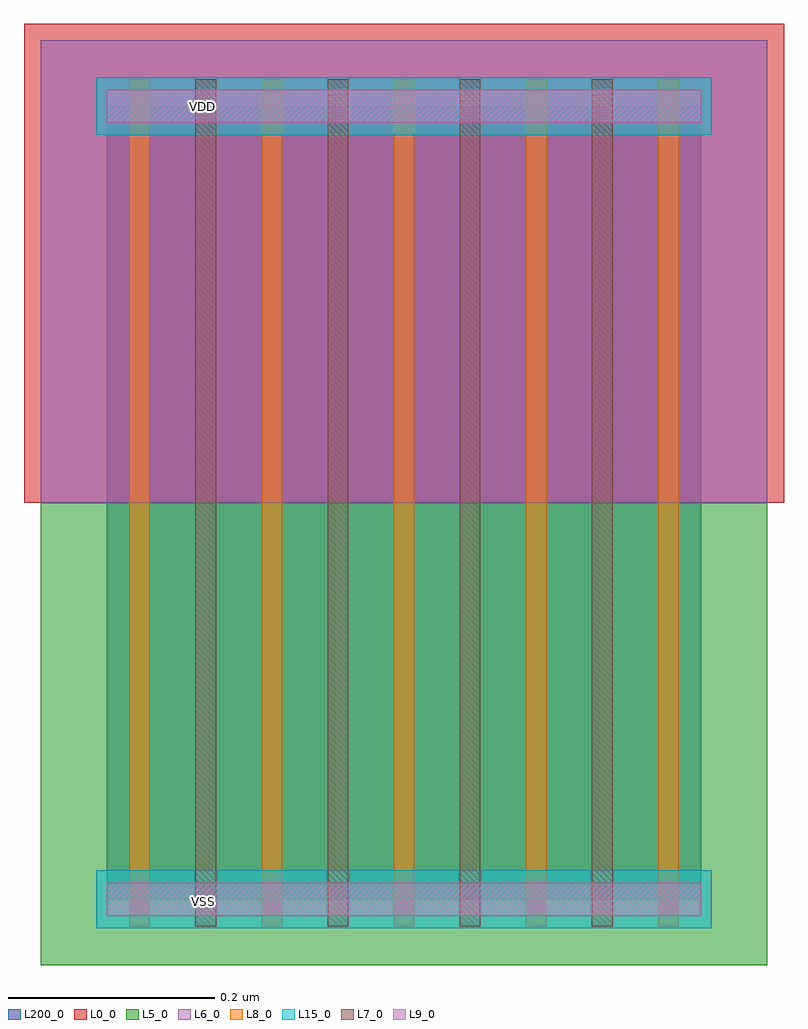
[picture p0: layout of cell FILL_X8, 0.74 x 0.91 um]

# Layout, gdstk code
import gdstk
lib = gdstk.Library(unit=1e-6, precision=1e-09)
def R(c, l, rs):  # rectangles x0, y0, x1, y1
    for r in rs: c.add(gdstk.rectangle(r[:2], r[2:], *l))
def A(c, l, x, y, w, h, nx, ny, dx, dy):  # array of equal rectangles
    R(c, l, [(x+i*dx, y+j*dy, x+i*dx+w, y+j*dy+h) for i in range(nx) for j in range(ny)])
L0_0 = (0, 0)
L5_0 = (5, 0)
L6_0 = (6, 0)
L7_0 = (7, 0)
L8_0 = (8, 0)
L9_0 = (9, 0)
L15_0 = (15, 0)
L200_0 = (200, 0)

fill_x8 = lib.new_cell('FILL_X8')
R(fill_x8, L0_0, [(-0.08,0.384,0.656,0.848)])
R(fill_x8, L5_0, [(-0.064,-0.064,0.64,0.384)])
R(fill_x8, L6_0, [(-0.064,0.384,0.64,0.832)])
A(fill_x8, L7_0, 0.086, -0.026, 0.02, 0.82, 4, 1, 0.128, 0)
A(fill_x8, L8_0, 0.022, -0.026, 0.02, 0.82, 5, 1, 0.128, 0)
R(fill_x8, L9_0, [(0,-0.016,0.576,0.016), (0,0.752,0.576,0.784)])
R(fill_x8, L15_0, [(-0.01,-0.028,0.586,0.028), (-0.01,0.74,0.586,0.796)])
R(fill_x8, L200_0, [(0,0,0.576,0.768)])
fill_x8.add(gdstk.Label('VSS', (0.094,-0.002), layer=15, texttype=20))
fill_x8.add(gdstk.Label('VDD', (0.093,0.768), layer=15, texttype=20))

lib.write_gds('FILL_X8.gds')
